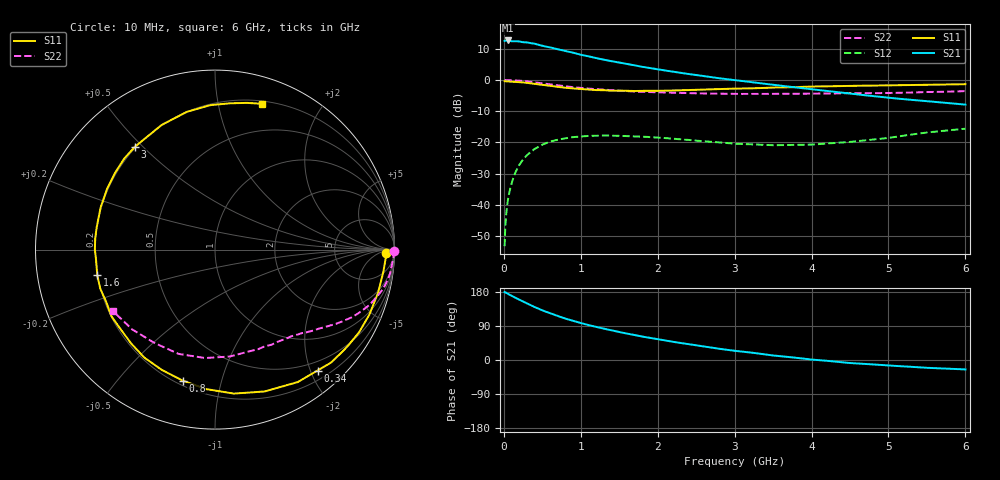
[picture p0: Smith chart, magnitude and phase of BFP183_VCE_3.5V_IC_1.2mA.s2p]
! Infineon Technologies  Discrete & RF Semiconductors
! BFP183
! VCE = 3.5 V,  IC =  1.2 mA
! Common Emitter S-Parameters:  Jan 2016
# GHz  S  MA  R  50
!  f  S11  S21  S12  S22
! GHz  MAG  ANG  MAG  ANG  MAG  ANG  MAG  ANG
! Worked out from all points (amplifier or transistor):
!   210 points, 10 MHz to 6 GHz, reference 50 ohm
!   highest |S21| = 12.6 dB at 50 MHz (marker M1)
!   |S21| within 3 dB of that: start of sweep to 736.3 MHz
!   unconditionally stable (mu >= 1): 2.417 GHz to end of sweep
!   at 185 MHz: K = 0.08, MSG = 20.1 dB, |S12| = -27.9 dB
!   at 1.52 GHz: K = 0.60, MSG = 11.7 dB, |S12| = -17.9 dB
!   at 6 GHz: K = 1.02, MAG = 3.0 dB, |S12| = -15.6 dB
!   S11 on the Smith chart (normalised r, x): 10 MHz: 35, -18; 340 MHz: 0.34, -2.11; 800 MHz: 0.23, -0.76; 1.6 GHz: 0.20, -0.10; 3 GHz: 0.20, +0.47; 6 GHz: 0.22, +1.35
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0.01  0.9557 -1.3  4.206 179.3  0.0022 91.1  0.9999 -0.5
0.015  0.9538 -2.1  4.231 178.9  0.0034 88.3  0.9973 -0.7
0.025  0.9507 -3.8  4.258 177.9  0.0057 86.6  0.9947 -1.3
0.05  0.946 -7.7  4.274 174.8  0.0115 86.1  0.9952 -2.6
0.085  0.94 -12.7  4.186 171.2  0.0188 81.6  0.9901 -4.5
0.15  0.9332 -22.9  4.176 164.2  0.0332 76.5  0.9841 -8.0
0.2  0.9255 -29.9  4.12 159.0  0.0437 72.3  0.9741 -10.5
0.34  0.8834 -49.7  3.89 145.7  0.0688 60.7  0.9343 -16.8
0.4  0.8702 -58.0  3.793 139.6  0.0787 56.5  0.9165 -19.5
0.52  0.829 -73.0  3.47 129.5  0.0942 47.9  0.8758 -23.7
0.6  0.8092 -82.5  3.319 123.3  0.1035 42.9  0.8507 -26.3
0.8  0.7516 -103.9  2.92 109.2  0.1168 32.7  0.7911 -31.5
1.02  0.7143 -124.9  2.497 96.5  0.1251 23.3  0.7403 -36.0
1.3  0.6862 -147.2  2.105 82.7  0.1295 14.1  0.6973 -40.8
1.6  0.6712 -167.7  1.801 69.7  0.1273 7.3  0.663 -45.4
2.02  0.6707 168.3  1.461 54.1  0.1196 1.2  0.6326 -52.1
2.58  0.7005 143.1  1.157 36.3  0.1049 -1.9  0.607 -62.4
3  0.7264 127.8  0.997 24.3  0.0956 -0.3  0.5983 -71.0
3.1  0.7283 124.8  0.962 22.2  0.0945 1.0  0.5971 -73.2
4.1  0.7857 99.6  0.688 -0.4  0.0943 16.1  0.6054 -98.0
5.1  0.8216 83.0  0.505 -15.7  0.1234 27.1  0.6212 -125.5
6  0.8542 72.0  0.403 -24.9  0.166 23.3  0.663 -148.7
